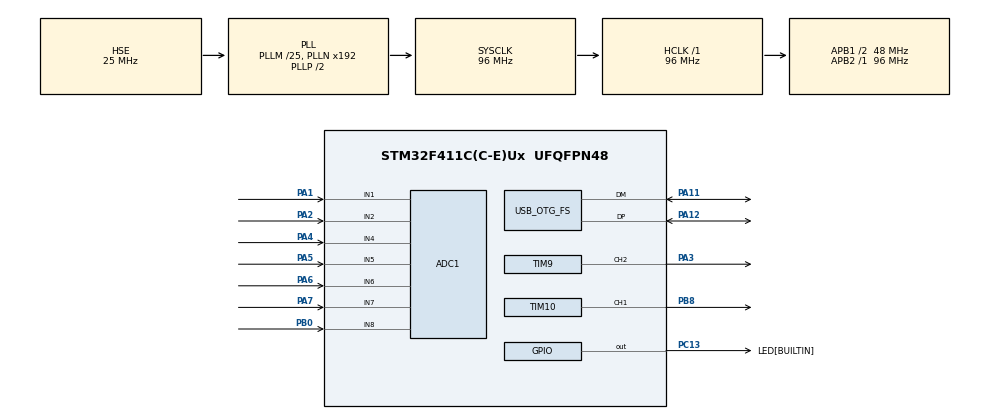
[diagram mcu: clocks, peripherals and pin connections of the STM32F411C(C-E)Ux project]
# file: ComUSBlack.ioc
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ADC1.Channel-0\#ChannelRegularConversion=ADC_CHANNEL_1
ADC1.Channel-1\#ChannelRegularConversion=ADC_CHANNEL_2
ADC1.Channel-2\#ChannelRegularConversion=ADC_CHANNEL_3
ADC1.Channel-3\#ChannelRegularConversion=ADC_CHANNEL_4
ADC1.Channel-4\#ChannelRegularConversion=ADC_CHANNEL_5
ADC1.Channel-5\#ChannelRegularConversion=ADC_CHANNEL_6
ADC1.Channel-6\#ChannelRegularConversion=ADC_CHANNEL_7
ADC1.Channel-7\#ChannelRegularConversion=ADC_CHANNEL_8
ADC1.DiscontinuousConvMode=DISABLE
ADC1.NbrOfConversion=8
ADC1.NbrOfConversionFlag=1
ADC1.Rank-0\#ChannelRegularConversion=1
ADC1.Rank-1\#ChannelRegularConversion=2
ADC1.Rank-2\#ChannelRegularConversion=3
ADC1.Rank-3\#ChannelRegularConversion=4
ADC1.Rank-4\#ChannelRegularConversion=5
ADC1.Rank-5\#ChannelRegularConversion=6
ADC1.Rank-6\#ChannelRegularConversion=7
ADC1.Rank-7\#ChannelRegularConversion=8
ADC1.SamplingTime-0\#ChannelRegularConversion=ADC_SAMPLETIME_480CYCLES
ADC1.SamplingTime-1\#ChannelRegularConversion=ADC_SAMPLETIME_480CYCLES
ADC1.SamplingTime-2\#ChannelRegularConversion=ADC_SAMPLETIME_480CYCLES
ADC1.SamplingTime-3\#ChannelRegularConversion=ADC_SAMPLETIME_480CYCLES
ADC1.SamplingTime-4\#ChannelRegularConversion=ADC_SAMPLETIME_480CYCLES
ADC1.SamplingTime-5\#ChannelRegularConversion=ADC_SAMPLETIME_480CYCLES
ADC1.SamplingTime-6\#ChannelRegularConversion=ADC_SAMPLETIME_480CYCLES
ADC1.SamplingTime-7\#ChannelRegularConversion=ADC_SAMPLETIME_480CYCLES
ADC1.ScanConvMode=ENABLE
ADC1.master=1
Mcu.Family=STM32F4
Mcu.Name=STM32F411C(C-E)Ux
Mcu.Package=UFQFPN48
NVIC.OTG_FS_IRQn=true\:0\:0\:false\:false\:true\:true\:true\:true
NVIC.PriorityGroup=NVIC_PRIORITYGROUP_4
NVIC.TIM1_TRG_COM_TIM11_IRQn=true\:0\:0\:false\:false\:true\:true\:true\:true
PA1.Signal=ADCx_IN1
PA11.Mode=Device_Only
PA11.Signal=USB_OTG_FS_DM
PA12.Mode=Device_Only
PA12.Signal=USB_OTG_FS_DP
PA13.Mode=Serial_Wire
PA13.Signal=SYS_JTMS-SWDIO
PA14.Mode=Serial_Wire
PA14.Signal=SYS_JTCK-SWCLK
PA2.Signal=ADCx_IN2
PA3.Signal=S_TIM9_CH2
PA4.Signal=ADCx_IN4
PA5.Signal=ADCx_IN5
PA6.Signal=ADCx_IN6
PA7.Signal=ADCx_IN7
PB0.Signal=ADCx_IN8
PB8.Signal=S_TIM10_CH1
PC13-ANTI_TAMP.GPIO_Label=LED[BUILTIN]
PC13-ANTI_TAMP.Signal=GPIO_Output
PC14-OSC32_IN.Mode=LSE-External-Oscillator
PC14-OSC32_IN.Signal=RCC_OSC32_IN
PC15-OSC32_OUT.Mode=LSE-External-Oscillator
PC15-OSC32_OUT.Signal=RCC_OSC32_OUT
PH0\ -\ OSC_IN.Mode=HSE-External-Oscillator
PH0\ -\ OSC_IN.Signal=RCC_OSC_IN
PH1\ -\ OSC_OUT.Mode=HSE-External-Oscillator
PH1\ -\ OSC_OUT.Signal=RCC_OSC_OUT
ProjectManager.HeapSize=0x200
ProjectManager.StackSize=0x400
ProjectManager.TargetToolchain=STM32CubeIDE
RCC.48MHZClocksFreq_Value=48000000
RCC.AHBFreq_Value=96000000
RCC.APB1CLKDivider=RCC_HCLK_DIV2
RCC.APB1Freq_Value=48000000
RCC.APB1TimFreq_Value=96000000
RCC.APB2Freq_Value=96000000
RCC.APB2TimFreq_Value=96000000
RCC.CortexFreq_Value=96000000
RCC.HCLKFreq_Value=96000000
RCC.HSE_VALUE=25000000
RCC.HSI_VALUE=16000000
RCC.PLLM=25
RCC.SYSCLKFreq_VALUE=96000000
RCC.SYSCLKSource=RCC_SYSCLKSOURCE_PLLCLK
RCC.VCOOutputFreq_Value=192000000
SH.ADCx_IN1.0=ADC1_IN1,IN1
SH.ADCx_IN2.0=ADC1_IN2,IN2
SH.ADCx_IN4.0=ADC1_IN4,IN4
SH.ADCx_IN5.0=ADC1_IN5,IN5
SH.ADCx_IN6.0=ADC1_IN6,IN6
SH.ADCx_IN7.0=ADC1_IN7,IN7
SH.ADCx_IN8.0=ADC1_IN8,IN8
SH.S_TIM10_CH1.0=TIM10_CH1,PWM Generation1 CH1
SH.S_TIM9_CH2.0=TIM9_CH2,PWM Generation2 CH2
TIM10.Channel=TIM_CHANNEL_1
TIM10.Period=1000
TIM10.Prescaler=96
TIM11.Period=59999
TIM11.Prescaler=15
TIM9.Channel-PWM\ Generation2\ CH2=TIM_CHANNEL_2
TIM9.Period=1000
TIM9.Prescaler=96
USB_DEVICE.APP_RX_DATA_SIZE=512
USB_DEVICE.APP_TX_DATA_SIZE=512
USB_DEVICE.CLASS_NAME_FS=CDC
USB_DEVICE.VirtualMode=Cdc
USB_DEVICE.VirtualModeFS=Cdc_FS
USB_OTG_FS.VirtualMode=Device_Only
VP_TIM10_VS_ClockSourceINT.Mode=Enable_Timer
VP_TIM11_VS_ClockSourceINT.Mode=Enable_Timer
VP_TIM9_VS_ClockSourceINT.Mode=Internal
VP_USB_DEVICE_VS_USB_DEVICE_CDC_FS.Mode=CDC_FS
board=custom

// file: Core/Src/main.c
/* USER CODE BEGIN Header */
/**
  ******************************************************************************
  * @file           : main.c
  * @brief          : Main program body
  ******************************************************************************
  * @attention
  *
  * Copyright (c) 2025 STMicroelectronics.
  * All rights reserved.
  *
  * This software is licensed under terms that can be found in the LICENSE file
  * in the root directory of this software component.
  * If no LICENSE file comes with this software, it is provided AS-IS.
  *
  ******************************************************************************
  */
/* USER CODE END Header */
#include "main.h"
#include "usb_device.h"

/* USER CODE BEGIN PTD */
typedef struct ComStruct{
    uint8_t timeOut;         //!< TiemOut para reiniciar la máquina si se interrumpe la comunicación
    uint8_t indexStart;      //!< Indice para saber en que parte del buffer circular arranca el ID
    uint8_t cheksumRx;       //!< Cheksumm RX
    uint8_t indexWriteRx;    //!< Indice de escritura del buffer circular de recepción
    uint8_t indexReadRx;     //!< Indice de lectura del buffer circular de recepción
    uint8_t indexWriteTx;    //!< Indice de escritura del buffer circular de transmisión
    uint8_t indexReadTx;     //!< Indice de lectura del buffer circular de transmisión
    uint8_t bufferRx[256];   //!< Buffer circular de recepción
    uint8_t bufferTx[256];   //!< Buffer circular de transmisión
}_sDato ;

typedef enum Comands{
    ALIVE=0xF0,
    FIRMWARE=0xF1,
    LEDS=0x10,
    PULSADORES=0x12,
    IRVALUE=0xA0,
    TESTMOTOR=0xA1,
    SERVO=0xA2,
    DISTANCIA=0xA3,
    SPEED=0xA4,
    SERVOCONFIG=0xA5,
    NEGROIR=0xA6,
    BLANCOIR=0xA7,
    PANEO=0xA8,
    STARTCONFIG=0xEE,
} _eEstadoMEFcmd;

typedef enum ProtocolState{
    START,
    HEADER_1,
    HEADER_2,
    HEADER_3,
    NBYTES=4,
    TOKEN,
    PAYLOAD
}_eProtocolo;
/* USER CODE END PTD */

ADC_HandleTypeDef hadc1;

TIM_HandleTypeDef htim9;
TIM_HandleTypeDef htim10;
TIM_HandleTypeDef htim11;

/* USER CODE BEGIN PV */
uint8_t is10ms=0;
_sDato datosComSerie, datosComWifi;
_eProtocolo estadoProtocolo;
/* USER CODE END PV */

void SystemClock_Config(void);
static void MX_GPIO_Init(void);
static void MX_TIM11_Init(void);
static void MX_ADC1_Init(void);
static void MX_TIM10_Init(void);
static void MX_TIM9_Init(void);
/* USER CODE BEGIN PFP */
void HAL_TIM_PeriodElapsedCallback(TIM_HandleTypeDef *htim);
uint8_t CDC_Transmit_FS(uint8_t *buf, uint16_t leng);  // Envia una letra
void DecodeHeader(_sDato *);
void decodeData(_sDato *);
void SendInfo(uint8_t bufferAux[], uint8_t bytes);
void comunicationsTask(_sDato *datosCom);
void CDC_AttachRxData(void (*ptrRxAttach)(uint8_t *buf, uint16_t len));
void datafromUSB(uint8_t *buf, uint16_t length);
/* USER CODE END PFP */

/* USER CODE BEGIN 0 */
void HAL_TIM_PeriodElapsedCallback(TIM_HandleTypeDef *htim){
	is10ms=1;
}
/* USER CODE END 0 */

int main(void)
{

  /* MCU Configuration--------------------------------------------------------*/

  /* Reset of all peripherals, Initializes the Flash interface and the Systick. */
  HAL_Init();

  /* Configure the system clock */
  SystemClock_Config();

  /* Initialize all configured peripherals */
  MX_GPIO_Init();
  MX_TIM11_Init();
  MX_USB_DEVICE_Init();
  MX_ADC1_Init();
  MX_TIM10_Init();
  MX_TIM9_Init();
  /* USER CODE BEGIN 2 */
  HAL_TIM_Base_Start_IT(&htim11);
//  HAL_TIM_Base_Start_IT(&htim10);
  uint8_t counter;
  CDC_AttachRxData(&datafromUSB);
  /* USER CODE END 2 */

  /* Infinite loop */
  while (1)
  {

    /* USER CODE BEGIN 3 */
	  comunicationsTask(&datosComSerie);
	  if(is10ms){
		  is10ms=0;
		  counter++;
		  if(counter>10){
			  HAL_GPIO_TogglePin(LED_GPIO_Port, LED_Pin);
			  counter=0;
		  }
	  }
  }
  /* USER CODE END 3 */
}

void SystemClock_Config(void)
{
  RCC_OscInitTypeDef RCC_OscInitStruct = {0};
  RCC_ClkInitTypeDef RCC_ClkInitStruct = {0};

  /** Configure the main internal regulator output voltage
  */
  __HAL_RCC_PWR_CLK_ENABLE();
  __HAL_PWR_VOLTAGESCALING_CONFIG(PWR_REGULATOR_VOLTAGE_SCALE1);

  /** Initializes the RCC Oscillators according to the specified parameters
  * in the RCC_OscInitTypeDef structure.
  */
  RCC_OscInitStruct.OscillatorType = RCC_OSCILLATORTYPE_HSE;
  RCC_OscInitStruct.HSEState = RCC_HSE_ON;
  RCC_OscInitStruct.PLL.PLLState = RCC_PLL_ON;
  RCC_OscInitStruct.PLL.PLLSource = RCC_PLLSOURCE_HSE;
  RCC_OscInitStruct.PLL.PLLM = 25;
  RCC_OscInitStruct.PLL.PLLN = 192;
  RCC_OscInitStruct.PLL.PLLP = RCC_PLLP_DIV2;
  RCC_OscInitStruct.PLL.PLLQ = 4;
  if (HAL_RCC_OscConfig(&RCC_OscInitStruct) != HAL_OK)
  {
    Error_Handler();
  }

  /** Initializes the CPU, AHB and APB buses clocks
  */
  RCC_ClkInitStruct.ClockType = RCC_CLOCKTYPE_HCLK|RCC_CLOCKTYPE_SYSCLK
                              |RCC_CLOCKTYPE_PCLK1|RCC_CLOCKTYPE_PCLK2;
  RCC_ClkInitStruct.SYSCLKSource = RCC_SYSCLKSOURCE_PLLCLK;
  RCC_ClkInitStruct.AHBCLKDivider = RCC_SYSCLK_DIV1;
  RCC_ClkInitStruct.APB1CLKDivider = RCC_HCLK_DIV2;
  RCC_ClkInitStruct.APB2CLKDivider = RCC_HCLK_DIV1;

  if (HAL_RCC_ClockConfig(&RCC_ClkInitStruct, FLASH_LATENCY_3) != HAL_OK)
  {
    Error_Handler();
  }
}

static void MX_ADC1_Init(void)
{

  ADC_ChannelConfTypeDef sConfig = {0};

  /** Configure the global features of the ADC (Clock, Resolution, Data Alignment and number of conversion)
  */
  hadc1.Instance = ADC1;
  hadc1.Init.ClockPrescaler = ADC_CLOCK_SYNC_PCLK_DIV4;
  hadc1.Init.Resolution = ADC_RESOLUTION_12B;
  hadc1.Init.ScanConvMode = ENABLE;
  hadc1.Init.ContinuousConvMode = DISABLE;
  hadc1.Init.DiscontinuousConvMode = DISABLE;
  hadc1.Init.ExternalTrigConvEdge = ADC_EXTERNALTRIGCONVEDGE_NONE;
  hadc1.Init.ExternalTrigConv = ADC_SOFTWARE_START;
  hadc1.Init.DataAlign = ADC_DATAALIGN_RIGHT;
  hadc1.Init.NbrOfConversion = 8;
  hadc1.Init.DMAContinuousRequests = DISABLE;
  hadc1.Init.EOCSelection = ADC_EOC_SINGLE_CONV;
  if (HAL_ADC_Init(&hadc1) != HAL_OK)
  {
    Error_Handler();
  }

  /** Configure for the selected ADC regular channel its corresponding rank in the sequencer and its sample time.
  */
  sConfig.Channel = ADC_CHANNEL_1;
  sConfig.Rank = 1;
  sConfig.SamplingTime = ADC_SAMPLETIME_480CYCLES;
  if (HAL_ADC_ConfigChannel(&hadc1, &sConfig) != HAL_OK)
  {
    Error_Handler();
  }

  /** Configure for the selected ADC regular channel its corresponding rank in the sequencer and its sample time.
  */
  sConfig.Channel = ADC_CHANNEL_2;
  sConfig.Rank = 2;
  if (HAL_ADC_ConfigChannel(&hadc1, &sConfig) != HAL_OK)
  {
    Error_Handler();
  }

  /** Configure for the selected ADC regular channel its corresponding rank in the sequencer and its sample time.
  */
  sConfig.Channel = ADC_CHANNEL_3;
  sConfig.Rank = 3;
  if (HAL_ADC_ConfigChannel(&hadc1, &sConfig) != HAL_OK)
  {
    Error_Handler();
  }

  /** Configure for the selected ADC regular channel its corresponding rank in the sequencer and its sample time.
  */
  sConfig.Channel = ADC_CHANNEL_4;
  sConfig.Rank = 4;
  if (HAL_ADC_ConfigChannel(&hadc1, &sConfig) != HAL_OK)
  {
    Error_Handler();
  }

  /** Configure for the selected ADC regular channel its corresponding rank in the sequencer and its sample time.
  */
  sConfig.Channel = ADC_CHANNEL_5;
  sConfig.Rank = 5;
  if (HAL_ADC_ConfigChannel(&hadc1, &sConfig) != HAL_OK)
  {
    Error_Handler();
  }

  /** Configure for the selected ADC regular channel its corresponding rank in the sequencer and its sample time.
  */
  sConfig.Channel = ADC_CHANNEL_6;
  sConfig.Rank = 6;
  if (HAL_ADC_ConfigChannel(&hadc1, &sConfig) != HAL_OK)
  {
    Error_Handler();
  }

  /** Configure for the selected ADC regular channel its corresponding rank in the sequencer and its sample time.
  */
  sConfig.Channel = ADC_CHANNEL_7;
  sConfig.Rank = 7;
  if (HAL_ADC_ConfigChannel(&hadc1, &sConfig) != HAL_OK)
  {
    Error_Handler();
  }

  /** Configure for the selected ADC regular channel its corresponding rank in the sequencer and its sample time.
  */
  sConfig.Channel = ADC_CHANNEL_8;
  sConfig.Rank = 8;
  if (HAL_ADC_ConfigChannel(&hadc1, &sConfig) != HAL_OK)
  {
    Error_Handler();
  }

}

static void MX_TIM9_Init(void)
{

  TIM_ClockConfigTypeDef sClockSourceConfig = {0};
  TIM_OC_InitTypeDef sConfigOC = {0};

  htim9.Instance = TIM9;
  htim9.Init.Prescaler = 96;
  htim9.Init.CounterMode = TIM_COUNTERMODE_UP;
  htim9.Init.Period = 1000;
  htim9.Init.ClockDivision = TIM_CLOCKDIVISION_DIV1;
  htim9.Init.AutoReloadPreload = TIM_AUTORELOAD_PRELOAD_DISABLE;
  if (HAL_TIM_Base_Init(&htim9) != HAL_OK)
  {
    Error_Handler();
  }
  sClockSourceConfig.ClockSource = TIM_CLOCKSOURCE_INTERNAL;
  if (HAL_TIM_ConfigClockSource(&htim9, &sClockSourceConfig) != HAL_OK)
  {
    Error_Handler();
  }
  if (HAL_TIM_PWM_Init(&htim9) != HAL_OK)
  {
    Error_Handler();
  }
  sConfigOC.OCMode = TIM_OCMODE_PWM1;
  sConfigOC.Pulse = 0;
  sConfigOC.OCPolarity = TIM_OCPOLARITY_HIGH;
  sConfigOC.OCFastMode = TIM_OCFAST_DISABLE;
  if (HAL_TIM_PWM_ConfigChannel(&htim9, &sConfigOC, TIM_CHANNEL_2) != HAL_OK)
  {
    Error_Handler();
  }
  HAL_TIM_MspPostInit(&htim9);

}

static void MX_TIM10_Init(void)
{

  TIM_OC_InitTypeDef sConfigOC = {0};

  htim10.Instance = TIM10;
  htim10.Init.Prescaler = 96;
  htim10.Init.CounterMode = TIM_COUNTERMODE_UP;
  htim10.Init.Period = 1000;
  htim10.Init.ClockDivision = TIM_CLOCKDIVISION_DIV1;
  htim10.Init.AutoReloadPreload = TIM_AUTORELOAD_PRELOAD_DISABLE;
  if (HAL_TIM_Base_Init(&htim10) != HAL_OK)
  {
    Error_Handler();
  }
  if (HAL_TIM_PWM_Init(&htim10) != HAL_OK)
  {
    Error_Handler();
  }
  sConfigOC.OCMode = TIM_OCMODE_PWM1;
  sConfigOC.Pulse = 0;
  sConfigOC.OCPolarity = TIM_OCPOLARITY_HIGH;
  sConfigOC.OCFastMode = TIM_OCFAST_DISABLE;
  if (HAL_TIM_PWM_ConfigChannel(&htim10, &sConfigOC, TIM_CHANNEL_1) != HAL_OK)
  {
    Error_Handler();
  }
  HAL_TIM_MspPostInit(&htim10);

}

static void MX_TIM11_Init(void)
{

  htim11.Instance = TIM11;
  htim11.Init.Prescaler = 15;
  htim11.Init.CounterMode = TIM_COUNTERMODE_UP;
  htim11.Init.Period = 59999;
  htim11.Init.ClockDivision = TIM_CLOCKDIVISION_DIV1;
  htim11.Init.AutoReloadPreload = TIM_AUTORELOAD_PRELOAD_DISABLE;
  if (HAL_TIM_Base_Init(&htim11) != HAL_OK)
  {
    Error_Handler();
  }

}

static void MX_GPIO_Init(void)
{
  GPIO_InitTypeDef GPIO_InitStruct = {0};

  /* GPIO Ports Clock Enable */
  __HAL_RCC_GPIOC_CLK_ENABLE();
  __HAL_RCC_GPIOH_CLK_ENABLE();
  __HAL_RCC_GPIOA_CLK_ENABLE();
  __HAL_RCC_GPIOB_CLK_ENABLE();

  /*Configure GPIO pin Output Level */
  HAL_GPIO_WritePin(LED_GPIO_Port, LED_Pin, GPIO_PIN_RESET);

  /*Configure GPIO pin : LED_Pin */
  GPIO_InitStruct.Pin = LED_Pin;
  GPIO_InitStruct.Mode = GPIO_MODE_OUTPUT_PP;
  GPIO_InitStruct.Pull = GPIO_NOPULL;
  GPIO_InitStruct.Speed = GPIO_SPEED_FREQ_LOW;
  HAL_GPIO_Init(LED_GPIO_Port, &GPIO_InitStruct);

}

/* USER CODE BEGIN 4 */
void DecodeHeader(_sDato *datosCom){

    static uint8_t nBytes=0;

    uint8_t indexWriteRxCopy=datosCom->indexWriteRx;

    while (datosCom->indexReadRx!=indexWriteRxCopy)
    {
        switch (estadoProtocolo) {
            case START:
                if (datosCom->bufferRx[datosCom->indexReadRx++]=='U'){
                    estadoProtocolo=HEADER_1;
                    datosCom->cheksumRx=0;
                }
                break;
            case HEADER_1:
                if (datosCom->bufferRx[datosCom->indexReadRx++]=='N')
                   estadoProtocolo=HEADER_2;
                else{
                    datosCom->indexReadRx--;
                    estadoProtocolo=START;
                }
                break;
            case HEADER_2:
                if (datosCom->bufferRx[datosCom->indexReadRx++]=='E')
                    estadoProtocolo=HEADER_3;
                else{
                    datosCom->indexReadRx--;
                   estadoProtocolo=START;
                }
                break;
        case HEADER_3:
            if (datosCom->bufferRx[datosCom->indexReadRx++]=='R')
                estadoProtocolo=NBYTES;
            else{
                datosCom->indexReadRx--;
               estadoProtocolo=START;
            }
            break;
            case NBYTES:
                datosCom->indexStart=datosCom->indexReadRx;
                nBytes=datosCom->bufferRx[datosCom->indexReadRx++];
               estadoProtocolo=TOKEN;
                break;
            case TOKEN:
                if (datosCom->bufferRx[datosCom->indexReadRx++]==':'){
                   estadoProtocolo=PAYLOAD;
                    datosCom->cheksumRx ='U'^'N'^'E'^'R'^ nBytes^':';
                }
                else{
                    datosCom->indexReadRx--;
                    estadoProtocolo=START;
                }
                break;
            case PAYLOAD:
                if (nBytes>1){
                    datosCom->cheksumRx ^= datosCom->bufferRx[datosCom->indexReadRx++];
                }
                nBytes--;
                if(nBytes<=0){
                    estadoProtocolo=START;
                    if(datosCom->cheksumRx == datosCom->bufferRx[datosCom->indexReadRx]){
                        decodeData(datosCom);
                    }
                }

                break;
            default:
                estadoProtocolo=START;
                break;
        }
    }
}

void SendInfo(uint8_t bufferAux[], uint8_t bytes){
    uint8_t bufAux[20], indiceAux=0,cks=0;
    #define NBYTES  4
    bufAux[indiceAux++]='U';
    bufAux[indiceAux++]='N';
    bufAux[indiceAux++]='E';
    bufAux[indiceAux++]='R';
    bufAux[indiceAux++]=0;
    bufAux[indiceAux++]=':';
    for(uint8_t i=0; i<bytes-1; i++){
        bufAux[indiceAux++] = bufferAux[i];
    }
    bufAux[NBYTES] = bytes;
        cks=0;
    for(uint8_t i=0 ;i<indiceAux;i++){
        cks^= bufAux[i];
        datosComSerie.bufferTx[datosComSerie.indexWriteTx++]=bufAux[i];
    }
     datosComSerie.bufferTx[datosComSerie.indexWriteTx++]=cks;

     CDC_Transmit_FS((uint8_t*)datosComSerie.bufferTx, sizeof(bufAux));
}

void decodeData(_sDato *datosCom){

    uint8_t bufAux[20], indiceAux=0,cks=0;

    bufAux[indiceAux++]='U';
    bufAux[indiceAux++]='N';
    bufAux[indiceAux++]='E';
    bufAux[indiceAux++]='R';
    bufAux[indiceAux++]=0;
    bufAux[indiceAux++]=':';

    switch (datosCom->bufferRx[datosCom->indexStart+2])//ID EN LA POSICION 2
    {
    case ALIVE:

        bufAux[indiceAux++]=ALIVE;
        bufAux[indiceAux++]=0x0D;
        bufAux[NBYTES]=0x03;

    break;
    case FIRMWARE:

        bufAux[indiceAux++]=FIRMWARE;
        bufAux[indiceAux++]=0xF1;
        bufAux[NBYTES]=0x03;

    break;

    default:

        bufAux[indiceAux++]=0xFF;
        bufAux[NBYTES]=0x02;

        break;
    }
    cks=0;
    for(uint8_t i=0 ;i<indiceAux;i++){

        cks^= bufAux[i];
        datosCom->bufferTx[datosCom->indexWriteTx++]=bufAux[i];

    }

     datosCom->bufferTx[datosCom->indexWriteTx++]=cks;
}

void comunicationsTask(_sDato *datosCom){

	if(datosCom->indexReadRx!=datosCom->indexWriteRx ){
		DecodeHeader(datosCom);
	}
}

void datafromUSB(uint8_t *buf, uint16_t length) {

  uint16_t i;

  for (i = 0; i < length; i++) {
	datosComSerie.bufferRx[datosComSerie.indexWriteRx] = buf[i];
	datosComSerie.indexWriteRx++;
  }

  HAL_GPIO_TogglePin(LED_GPIO_Port, LED_Pin);
}
/* USER CODE END 4 */

void Error_Handler(void)
{
  __disable_irq();
  while (1)
  {
  }
}
